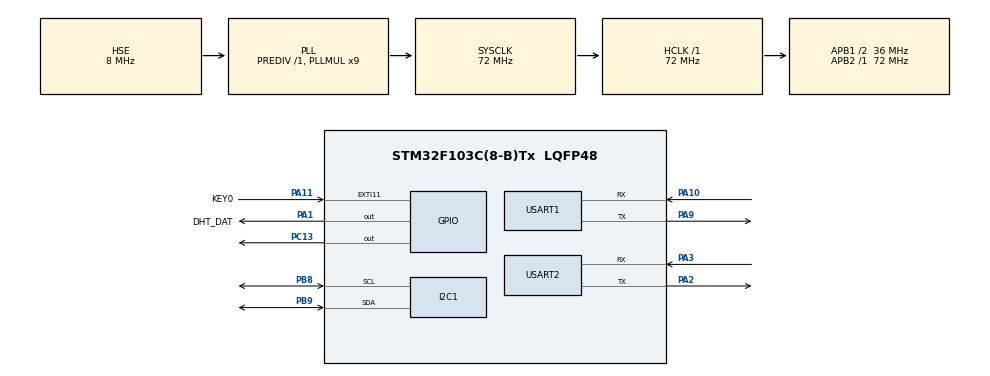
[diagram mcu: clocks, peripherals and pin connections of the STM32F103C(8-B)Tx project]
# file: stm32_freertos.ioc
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FREERTOS.BinarySemaphores01=Sem_Key,Dynamic,NULL,Available
FREERTOS.Queues01=Queue_OLED,1,DHT_Data_t,0,Dynamic,NULL,NULL;Queue_WiFi,3,DHT_Data_t,0,Dynamic,NULL,NULL
FREERTOS.Tasks01=DHT_Task,40,256,StartDHTTask,As weak,NULL,Dynamic,NULL,NULL;OLED_Task,24,256,StartOLEDTask,As weak,NULL,Dynamic,NULL,NULL;Key_Task,32,128,StartKeyTask,As weak,NULL,Dynamic,NULL,NULL;WiFi_Task,8,256,StartWiFiTask,As weak,NULL,Dynamic,NULL,NULL;StatusLEDTask,8,128,StartStatusLEDTask,As weak,NULL,Dynamic,NULL,NULL;WatchDogTask,8,256,StartWatchDogTask,As weak,NULL,Dynamic,NULL,NULL
FREERTOS.configCHECK_FOR_STACK_OVERFLOW=2
FREERTOS.configTOTAL_HEAP_SIZE=8192
FREERTOS.configUSE_NEWLIB_REENTRANT=0
IWDG.Prescaler=IWDG_PRESCALER_64
Mcu.Family=STM32F1
Mcu.Name=STM32F103C(8-B)Tx
Mcu.Package=LQFP48
NVIC.EXTI15_10_IRQn=true\:5\:0\:true\:false\:true\:true\:true\:true\:true
NVIC.PriorityGroup=NVIC_PRIORITYGROUP_4
NVIC.TIM4_IRQn=true\:15\:0\:false\:false\:true\:false\:false\:true\:true
NVIC.TimeBase=TIM4_IRQn
NVIC.TimeBaseIP=TIM4
NVIC.USART2_IRQn=true\:5\:0\:false\:false\:true\:true\:true\:true\:true
PA1.GPIO_Label=DHT_DAT
PA1.GPIO_ModeDefaultOutputPP=GPIO_MODE_OUTPUT_PP
PA1.GPIO_PuPd=GPIO_PULLUP
PA1.GPIO_Speed=GPIO_SPEED_FREQ_HIGH
PA1.Signal=GPIO_Output
PA10.Mode=Asynchronous
PA10.Signal=USART1_RX
PA11.GPIO_Label=KEY0
PA11.GPIO_ModeDefaultEXTI=GPIO_MODE_IT_FALLING
PA11.GPIO_PuPd=GPIO_PULLUP
PA11.Signal=GPXTI11
PA13.Mode=Serial_Wire
PA13.Signal=SYS_JTMS-SWDIO
PA14.Mode=Serial_Wire
PA14.Signal=SYS_JTCK-SWCLK
PA2.Mode=Asynchronous
PA2.Signal=USART2_TX
PA3.Mode=Asynchronous
PA3.Signal=USART2_RX
PA9.Mode=Asynchronous
PA9.Signal=USART1_TX
PB8.Mode=I2C
PB8.Signal=I2C1_SCL
PB9.Mode=I2C
PB9.Signal=I2C1_SDA
PC13-TAMPER-RTC.PinState=GPIO_PIN_SET
PC13-TAMPER-RTC.Signal=GPIO_Output
PD0-OSC_IN.Mode=HSE-External-Oscillator
PD0-OSC_IN.Signal=RCC_OSC_IN
PD1-OSC_OUT.Mode=HSE-External-Oscillator
PD1-OSC_OUT.Signal=RCC_OSC_OUT
ProjectManager.HeapSize=0x200
ProjectManager.StackSize=0x400
ProjectManager.TargetToolchain=MDK-ARM V5.32
RCC.AHBFreq_Value=72000000
RCC.APB1CLKDivider=RCC_HCLK_DIV2
RCC.APB1Freq_Value=36000000
RCC.APB1TimFreq_Value=72000000
RCC.APB2Freq_Value=72000000
RCC.APB2TimFreq_Value=72000000
RCC.HCLKFreq_Value=72000000
RCC.PLLMUL=RCC_PLL_MUL9
RCC.PLLSourceVirtual=RCC_PLLSOURCE_HSE
RCC.SYSCLKFreq_VALUE=72000000
RCC.SYSCLKSource=RCC_SYSCLKSOURCE_PLLCLK
RCC.USBFreq_Value=72000000
USART1.VirtualMode=VM_ASYNC
USART2.VirtualMode=VM_ASYNC
VP_FREERTOS_VS_CMSIS_V2.Mode=CMSIS_V2
VP_IWDG_VS_IWDG.Mode=IWDG_Activate
VP_SYS_VS_tim4.Mode=TIM4
board=custom

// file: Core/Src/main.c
/* USER CODE BEGIN Header */
/**
  ******************************************************************************
  * @file           : main.c
  * @brief          : Main program body
  ******************************************************************************
  * @attention
  *
  * Copyright (c) 2026 STMicroelectronics.
  * All rights reserved.
  *
  * This software is licensed under terms that can be found in the LICENSE file
  * in the root directory of this software component.
  * If no LICENSE file comes with this software, it is provided AS-IS.
  *
  ******************************************************************************
  */
/* USER CODE END Header */
#include "main.h"
#include "cmsis_os.h"
#include "dht.h"
#include "oled.h"
#include "delay.h"
#include "stdint.h"
#include "stdio.h"
/* USER CODE BEGIN Includes */
#include "power.h"
#include "esp8266.h"
/* USER CODE END Includes */

I2C_HandleTypeDef hi2c1;

IWDG_HandleTypeDef hiwdg;

UART_HandleTypeDef huart1;
UART_HandleTypeDef huart2;

/* Definitions for DHT_Task */
osThreadId_t DHT_TaskHandle;
const osThreadAttr_t DHT_Task_attributes = {
  .name = "DHT_Task",
  .stack_size = 256 * 4,
  .priority = (osPriority_t) osPriorityHigh,
};
/* Definitions for OLED_Task */
osThreadId_t OLED_TaskHandle;
const osThreadAttr_t OLED_Task_attributes = {
  .name = "OLED_Task",
  .stack_size = 256 * 4,
  .priority = (osPriority_t) osPriorityNormal,
};
/* Definitions for Key_Task */
osThreadId_t Key_TaskHandle;
const osThreadAttr_t Key_Task_attributes = {
  .name = "Key_Task",
  .stack_size = 256 * 4,
  .priority = (osPriority_t) osPriorityAboveNormal,
};
/* Definitions for WiFi_Task */
osThreadId_t WiFi_TaskHandle;
const osThreadAttr_t WiFi_Task_attributes = {
  .name = "WiFi_Task",
  .stack_size = 256 * 4,
  .priority = (osPriority_t) osPriorityLow,
};
/* Definitions for StatusLEDTask */
osThreadId_t StatusLEDTaskHandle;
const osThreadAttr_t StatusLEDTask_attributes = {
  .name = "StatusLEDTask",
  .stack_size = 128 * 4,
  .priority = (osPriority_t) osPriorityLow,
};
/* Definitions for WatchDogTask */
osThreadId_t WatchDogTaskHandle;
const osThreadAttr_t WatchDogTask_attributes = {
  .name = "WatchDogTask",
  .stack_size = 256 * 4,
  .priority = (osPriority_t) osPriorityAboveNormal,
};
/* Definitions for Queue_OLED */
osMessageQueueId_t Queue_OLEDHandle;
const osMessageQueueAttr_t Queue_OLED_attributes = {
  .name = "Queue_OLED"
};
/* Definitions for Queue_WiFi */
osMessageQueueId_t Queue_WiFiHandle;
const osMessageQueueAttr_t Queue_WiFi_attributes = {
  .name = "Queue_WiFi"
};
/* Definitions for Sem_Key */
osSemaphoreId_t Sem_KeyHandle;
const osSemaphoreAttr_t Sem_Key_attributes = {
  .name = "Sem_Key"
};

void SystemClock_Config(void);
static void MX_GPIO_Init(void);
static void MX_I2C1_Init(void);
static void MX_USART1_UART_Init(void);
static void MX_USART2_UART_Init(void);
static void MX_IWDG_Init(void);
void StartDHTTask(void *argument);
void StartOLEDTask(void *argument);
void StartKeyTask(void *argument);
void StartWiFiTask(void *argument);
void StartStatusLEDTask(void *argument);
void StartWatchDogTask(void *argument);

int main(void)
{

  /* MCU Configuration--------------------------------------------------------*/

  /* Reset of all peripherals, Initializes the Flash interface and the Systick. */
  HAL_Init();

  /* Configure the system clock */
  SystemClock_Config();

  /* Initialize all configured peripherals */
  MX_GPIO_Init();
  MX_I2C1_Init();
  MX_USART1_UART_Init();
  MX_USART2_UART_Init();
  MX_IWDG_Init();
  /* USER CODE BEGIN 2 */
    OLED_Init();
		delay_init();
    ESP8266_Init();
    Power_LogResetReason();
    Power_Init();
  	HAL_IWDG_Refresh(&hiwdg);
    __HAL_DBGMCU_FREEZE_IWDG();
  /* USER CODE END 2 */

  /* Init scheduler */
  osKernelInitialize();

  /* Create the semaphores(s) */
  /* creation of Sem_Key */
  Sem_KeyHandle = osSemaphoreNew(1, 1, &Sem_Key_attributes);

  /* Create the queue(s) */
  /* creation of Queue_OLED */
  Queue_OLEDHandle = osMessageQueueNew (1, sizeof(DHT_Data_t), &Queue_OLED_attributes);

  /* creation of Queue_WiFi */
  Queue_WiFiHandle = osMessageQueueNew (3, sizeof(DHT_Data_t), &Queue_WiFi_attributes);

  /* Create the thread(s) */
  /* creation of DHT_Task */
  DHT_TaskHandle = osThreadNew(StartDHTTask, NULL, &DHT_Task_attributes);

  /* creation of OLED_Task */
  OLED_TaskHandle = osThreadNew(StartOLEDTask, NULL, &OLED_Task_attributes);

  /* creation of Key_Task */
  Key_TaskHandle = osThreadNew(StartKeyTask, NULL, &Key_Task_attributes);

  /* creation of WiFi_Task */
  WiFi_TaskHandle = osThreadNew(StartWiFiTask, NULL, &WiFi_Task_attributes);

  /* creation of StatusLEDTask */
  StatusLEDTaskHandle = osThreadNew(StartStatusLEDTask, NULL, &StatusLEDTask_attributes);

  /* creation of WatchDogTask */
  WatchDogTaskHandle = osThreadNew(StartWatchDogTask, NULL, &WatchDogTask_attributes);

  /* Start scheduler */
  osKernelStart();

  /* We should never get here as control is now taken by the scheduler */

  /* Infinite loop */
  while (1)
  {

  }
}

void SystemClock_Config(void)
{
  RCC_OscInitTypeDef RCC_OscInitStruct = {0};
  RCC_ClkInitTypeDef RCC_ClkInitStruct = {0};

  /** Initializes the RCC Oscillators according to the specified parameters
  * in the RCC_OscInitTypeDef structure.
  */
  RCC_OscInitStruct.OscillatorType = RCC_OSCILLATORTYPE_LSI|RCC_OSCILLATORTYPE_HSE;
  RCC_OscInitStruct.HSEState = RCC_HSE_ON;
  RCC_OscInitStruct.HSEPredivValue = RCC_HSE_PREDIV_DIV1;
  RCC_OscInitStruct.HSIState = RCC_HSI_ON;
  RCC_OscInitStruct.LSIState = RCC_LSI_ON;
  RCC_OscInitStruct.PLL.PLLState = RCC_PLL_ON;
  RCC_OscInitStruct.PLL.PLLSource = RCC_PLLSOURCE_HSE;
  RCC_OscInitStruct.PLL.PLLMUL = RCC_PLL_MUL9;
  if (HAL_RCC_OscConfig(&RCC_OscInitStruct) != HAL_OK)
  {
    Error_Handler();
  }

  /** Initializes the CPU, AHB and APB buses clocks
  */
  RCC_ClkInitStruct.ClockType = RCC_CLOCKTYPE_HCLK|RCC_CLOCKTYPE_SYSCLK
                              |RCC_CLOCKTYPE_PCLK1|RCC_CLOCKTYPE_PCLK2;
  RCC_ClkInitStruct.SYSCLKSource = RCC_SYSCLKSOURCE_PLLCLK;
  RCC_ClkInitStruct.AHBCLKDivider = RCC_SYSCLK_DIV1;
  RCC_ClkInitStruct.APB1CLKDivider = RCC_HCLK_DIV2;
  RCC_ClkInitStruct.APB2CLKDivider = RCC_HCLK_DIV1;

  if (HAL_RCC_ClockConfig(&RCC_ClkInitStruct, FLASH_LATENCY_2) != HAL_OK)
  {
    Error_Handler();
  }
}

static void MX_I2C1_Init(void)
{

  hi2c1.Instance = I2C1;
  hi2c1.Init.ClockSpeed = 100000;
  hi2c1.Init.DutyCycle = I2C_DUTYCYCLE_2;
  hi2c1.Init.OwnAddress1 = 0;
  hi2c1.Init.AddressingMode = I2C_ADDRESSINGMODE_7BIT;
  hi2c1.Init.DualAddressMode = I2C_DUALADDRESS_DISABLE;
  hi2c1.Init.OwnAddress2 = 0;
  hi2c1.Init.GeneralCallMode = I2C_GENERALCALL_DISABLE;
  hi2c1.Init.NoStretchMode = I2C_NOSTRETCH_DISABLE;
  if (HAL_I2C_Init(&hi2c1) != HAL_OK)
  {
    Error_Handler();
  }

}

static void MX_IWDG_Init(void)
{

  hiwdg.Instance = IWDG;
  hiwdg.Init.Prescaler = IWDG_PRESCALER_64;
  hiwdg.Init.Reload = 4095;
  if (HAL_IWDG_Init(&hiwdg) != HAL_OK)
  {
    Error_Handler();
  }

}

static void MX_USART1_UART_Init(void)
{

  huart1.Instance = USART1;
  huart1.Init.BaudRate = 115200;
  huart1.Init.WordLength = UART_WORDLENGTH_8B;
  huart1.Init.StopBits = UART_STOPBITS_1;
  huart1.Init.Parity = UART_PARITY_NONE;
  huart1.Init.Mode = UART_MODE_TX_RX;
  huart1.Init.HwFlowCtl = UART_HWCONTROL_NONE;
  huart1.Init.OverSampling = UART_OVERSAMPLING_16;
  if (HAL_UART_Init(&huart1) != HAL_OK)
  {
    Error_Handler();
  }

}

static void MX_USART2_UART_Init(void)
{

  huart2.Instance = USART2;
  huart2.Init.BaudRate = 115200;
  huart2.Init.WordLength = UART_WORDLENGTH_8B;
  huart2.Init.StopBits = UART_STOPBITS_1;
  huart2.Init.Parity = UART_PARITY_NONE;
  huart2.Init.Mode = UART_MODE_TX_RX;
  huart2.Init.HwFlowCtl = UART_HWCONTROL_NONE;
  huart2.Init.OverSampling = UART_OVERSAMPLING_16;
  if (HAL_UART_Init(&huart2) != HAL_OK)
  {
    Error_Handler();
  }

}

static void MX_GPIO_Init(void)
{
  GPIO_InitTypeDef GPIO_InitStruct = {0};

  /* GPIO Ports Clock Enable */
  __HAL_RCC_GPIOC_CLK_ENABLE();
  __HAL_RCC_GPIOD_CLK_ENABLE();
  __HAL_RCC_GPIOA_CLK_ENABLE();
  __HAL_RCC_GPIOB_CLK_ENABLE();

  /*Configure GPIO pin Output Level */
  HAL_GPIO_WritePin(GPIOC, GPIO_PIN_13, GPIO_PIN_SET);

  /*Configure GPIO pin Output Level */
  HAL_GPIO_WritePin(DHT_DAT_GPIO_Port, DHT_DAT_Pin, GPIO_PIN_RESET);

  /*Configure GPIO pin : PC13 */
  GPIO_InitStruct.Pin = GPIO_PIN_13;
  GPIO_InitStruct.Mode = GPIO_MODE_OUTPUT_PP;
  GPIO_InitStruct.Pull = GPIO_NOPULL;
  GPIO_InitStruct.Speed = GPIO_SPEED_FREQ_LOW;
  HAL_GPIO_Init(GPIOC, &GPIO_InitStruct);

  /*Configure GPIO pin : DHT_DAT_Pin */
  GPIO_InitStruct.Pin = DHT_DAT_Pin;
  GPIO_InitStruct.Mode = GPIO_MODE_OUTPUT_PP;
  GPIO_InitStruct.Pull = GPIO_PULLUP;
  GPIO_InitStruct.Speed = GPIO_SPEED_FREQ_HIGH;
  HAL_GPIO_Init(DHT_DAT_GPIO_Port, &GPIO_InitStruct);

  /*Configure GPIO pin : KEY0_Pin */
  GPIO_InitStruct.Pin = KEY0_Pin;
  GPIO_InitStruct.Mode = GPIO_MODE_IT_FALLING;
  GPIO_InitStruct.Pull = GPIO_PULLUP;
  HAL_GPIO_Init(KEY0_GPIO_Port, &GPIO_InitStruct);

  /* EXTI interrupt init*/
  HAL_NVIC_SetPriority(EXTI15_10_IRQn, 5, 0);
  HAL_NVIC_EnableIRQ(EXTI15_10_IRQn);

}

__weak void StartDHTTask(void *argument)
{
  for(;;)
  {
    osDelay(1);
  }
}

__weak void StartOLEDTask(void *argument)
{
  for(;;)
  {
    osDelay(1);
  }
}

__weak void StartKeyTask(void *argument)
{
  for(;;)
  {
    osDelay(1);
  }
}

__weak void StartWiFiTask(void *argument)
{
  for(;;)
  {
    osDelay(1);
  }
}

__weak void StartStatusLEDTask(void *argument)
{
  for(;;)
  {
    osDelay(1);
  }
}

__weak void StartWatchDogTask(void *argument)
{
  for(;;)
  {
    osDelay(1);
  }
}

void HAL_TIM_PeriodElapsedCallback(TIM_HandleTypeDef *htim)
{
  if (htim->Instance == TIM4)
  {
    HAL_IncTick();
  }
}

void Error_Handler(void)
{
  __disable_irq();
  while (1)
  {
  }
}

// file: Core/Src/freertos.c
/* USER CODE BEGIN Header */
/**
  ******************************************************************************
  * File Name          : freertos.c
  * Description        : Code for freertos applications
  ******************************************************************************
  * @attention
  *
  * Copyright (c) 2026 STMicroelectronics.
  * All rights reserved.
  *
  * This software is licensed under terms that can be found in the LICENSE file
  * in the root directory of this software component.
  * If no LICENSE file comes with this software, it is provided AS-IS.
  *
  ******************************************************************************
  */
/* USER CODE END Header */

#include "FreeRTOS.h"
#include "task.h"
#include "main.h"

/* Hook prototypes */
void vApplicationStackOverflowHook(xTaskHandle xTask, signed char *pcTaskName);

/* USER CODE BEGIN 4 */
static void uart1_puts(const char *s)
{
  if (s == NULL) return;
  while (*s != '\0') {
    while ((USART1->SR & USART_SR_TXE) == 0u) {
    }
    USART1->DR = (uint8_t)*s++;
  }
}

void vApplicationStackOverflowHook(xTaskHandle xTask, signed char *pcTaskName)
{
  (void)xTask;
  uart1_puts("\r\nSTACK ");
  uart1_puts((const char *)pcTaskName);
  uart1_puts("\r\n");
  for (;;) {
    GPIOC->ODR ^= GPIO_ODR_ODR13;
    for (volatile uint32_t i = 0; i < 200000u; i++) {
    }
  }
}
/* USER CODE END 4 */
